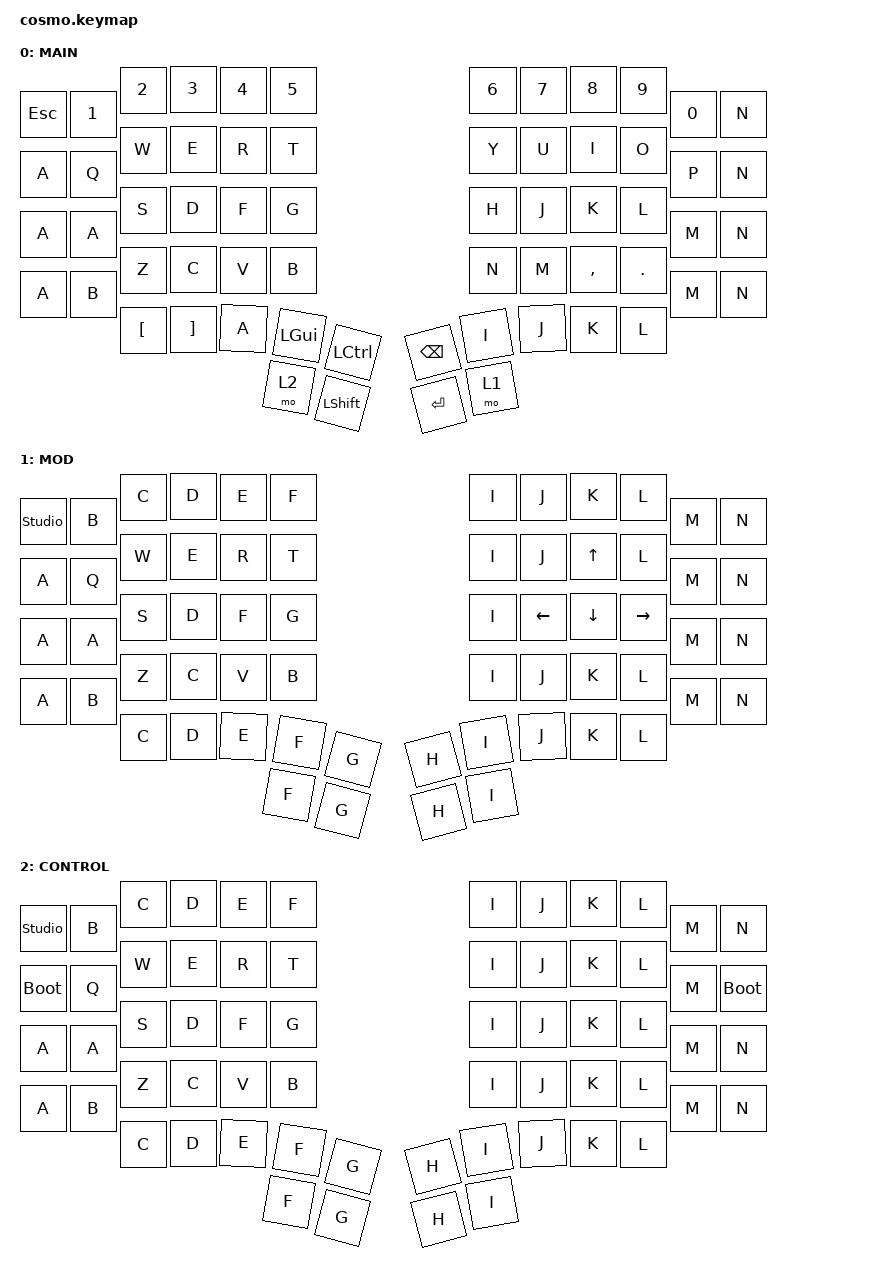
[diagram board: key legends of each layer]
#include <behaviors.dtsi>
#include <dt-bindings/zmk/keys.h>

/ {
    keymap {
        compatible = "zmk,keymap";
        default_layer { 
          display-name = "MAIN";
            bindings = <
                &kp ESC &kp N1 &kp N2 &kp N3 &kp N4 &kp N5          &kp N6 &kp N7 &kp N8 &kp N9 &kp N0 &kp N
                &kp A &kp Q &kp W &kp E &kp R &kp T                 &kp Y &kp U &kp I &kp O &kp P &kp N
                &kp A &kp A &kp S &kp D &kp F &kp G                 &kp H &kp J &kp K &kp L &kp M &kp N
                &kp A &kp B &kp Z &kp C &kp V &kp B                 &kp N &kp M &kp COMMA &kp DOT &kp M &kp N
                            &kp LBKT &kp RBKT &kp A &kp LGUI &kp LCTRL     &kp BSPC &kp I &kp J &kp K &kp L 
                                        &mo 2 &kp LSHFT     &kp RET &mo 1
            >;
        };

        mod_layer{ 
          display-name = "MOD";
            bindings = <
       &studio_unlock &kp B &kp C &kp D &kp E &kp F                 &kp I &kp J &kp K &kp L &kp M &kp N
                &kp A &kp Q &kp W &kp E &kp R &kp T                 &kp I &kp J &kp UP &kp L &kp M &kp N
                &kp A &kp A &kp S &kp D &kp F &kp G                 &kp I &kp LEFT &kp DOWN &kp RIGHT &kp M &kp N
                &kp A &kp B &kp Z &kp C &kp V &kp B                 &kp I &kp J &kp K &kp L &kp M &kp N
                            &kp C &kp D &kp E &kp F &kp G     &kp H &kp I &kp J &kp K &kp L 
                                              &kp F &kp G     &kp H &kp I 
            >;
        };

        control_layer{ 
          display-name = "CONTROL";
            bindings = <
       &studio_unlock &kp B &kp C &kp D &kp E &kp F                 &kp I &kp J &kp K &kp L &kp M &kp N
          &bootloader &kp Q &kp W &kp E &kp R &kp T                 &kp I &kp J &kp K &kp L &kp M &bootloader
                &kp A &kp A &kp S &kp D &kp F &kp G                 &kp I &kp J &kp K &kp L &kp M &kp N
                &kp A &kp B &kp Z &kp C &kp V &kp B                 &kp I &kp J &kp K &kp L &kp M &kp N
                            &kp C &kp D &kp E &kp F &kp G     &kp H &kp I &kp J &kp K &kp L 
                                              &kp F &kp G     &kp H &kp I 
            >;
            
        };
    };
 };
 
 
